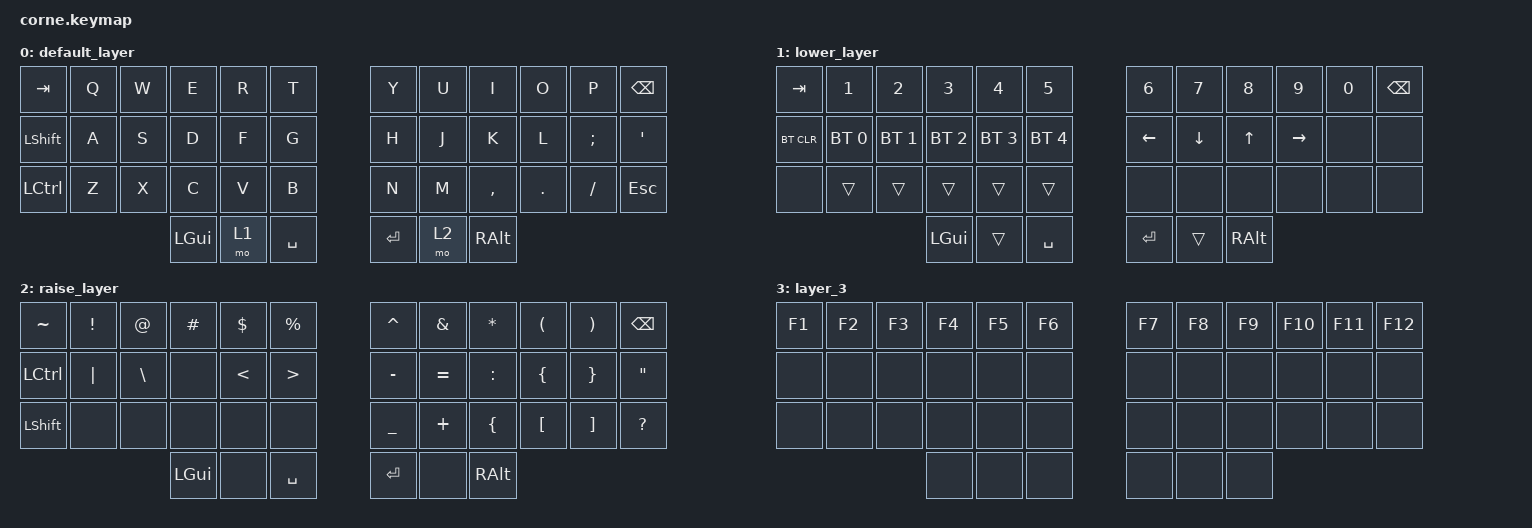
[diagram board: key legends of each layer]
/*
 * Copyright (c) 2020 The ZMK Contributors
 *
 * SPDX-License-Identifier: MIT
 */

#include <behaviors.dtsi>
#include <dt-bindings/zmk/bt.h>
#include <dt-bindings/zmk/keys.h>

/ {
    combos {
        compatible = "zmk,combos";

        grave {
            bindings = <&kp GRAVE>;
            key-positions = <40 12 0>;
        };

        layer3 {
            bindings = <&mo 3>;
            key-positions = <37 40>;
        };
    };

    keymap {
        compatible = "zmk,keymap";

        default_layer {
            // -----------------------------------------------------------------------------------------
            // |  TAB |  Q  |  W  |  E  |  R  |  T  |   |  Y  |  U   |  I  |  O  |  P  | BKSP |
            // | CTRL |  A  |  S  |  D  |  F  |  G  |   |  H  |  J   |  K  |  L  |  ;  |  '   |
            // | SHFT |  Z  |  X  |  C  |  V  |  B  |   |  N  |  M   |  ,  |  .  |  /  | ESC  |
            //                    | GUI | LWR | SPC |   | ENT | RSE  | ALT |

            bindings = <
&kp TAB     &kp Q  &kp W  &kp E     &kp R  &kp T        &kp Y    &kp U  &kp I      &kp O    &kp P     &kp BSPC
&kp LSHIFT  &kp A  &kp S  &kp D     &kp F  &kp G        &kp H    &kp J  &kp K      &kp L    &kp SEMI  &kp SQT
&kp LCTRL   &kp Z  &kp X  &kp C     &kp V  &kp B        &kp N    &kp M  &kp COMMA  &kp DOT  &kp FSLH  &kp ESC
                          &kp LGUI  &mo 1  &kp SPACE    &kp RET  &mo 2  &kp RALT
            >;
        };

        lower_layer {
            // -----------------------------------------------------------------------------------------
            // |  TAB |  1  |  2  |  3  |  4  |  5  |   |  6  |  7  |  8  |  9  |  0  | BKSP |
            // | BTCLR| BT1 | BT2 | BT3 | BT4 | BT5 |   | LFT | DWN |  UP | RGT |     |      |
            // | SHFT |     |     |     |     |     |   |     |     |     |     |     |      |
            //                    | GUI |     | SPC |   | ENT |     | ALT |

            bindings = <
&kp TAB     &kp N1        &kp N2        &kp N3        &kp N4        &kp N5          &kp N6    &kp N7    &kp N8    &kp N9     &kp N0  &kp BSPC
&bt BT_CLR  &bt BT_SEL 0  &bt BT_SEL 1  &bt BT_SEL 2  &bt BT_SEL 3  &bt BT_SEL 4    &kp LEFT  &kp DOWN  &kp UP    &kp RIGHT  &none   &none
&none       &trans        &trans        &trans        &trans        &trans          &none     &none     &none     &none      &none   &none
                                        &kp LGUI      &trans        &kp SPACE       &kp RET   &trans    &kp RALT
            >;
        };

        raise_layer {
            // -----------------------------------------------------------------------------------------
            // |  TAB |  !  |  @  |  #  |  $  |  %  |   |  ^  |  &  |  *  |  (  |  )  | BKSP |
            // | CTRL |     |     |     |     |     |   |  -  |  =  |  [  |  ]  |  \  |  `   |
            // | SHFT |     |     |     |     |     |   |  _  |  +  |  {  |  }  | "|" |  ~   |
            //                    | GUI |     | SPC |   | ENT |     | ALT |

            bindings = <
&kp TILDE  &kp EXCL  &kp AT         &kp HASH  &kp DLLR       &kp PRCNT           &kp CARET  &kp AMPS   &kp ASTRK  &kp LPAR          &kp RPAR           &kp BSPC
&kp LCTRL  &kp PIPE  &kp BACKSLASH  &none     &kp LESS_THAN  &kp GREATER_THAN    &kp MINUS  &kp EQUAL  &kp COLON  &kp LEFT_BRACE    &kp RIGHT_BRACE    &kp DOUBLE_QUOTES
&kp LSHFT  &none     &none          &none     &none          &none               &kp UNDER  &kp PLUS   &kp LBRC   &kp LEFT_BRACKET  &kp RIGHT_BRACKET  &kp QUESTION
                                    &kp LGUI  &none          &kp SPACE           &kp RET    &none      &kp RALT
            >;
        };

        layer_3 {
            bindings = <
&kp F1  &kp F2  &kp F3  &kp F4  &kp F5  &kp F6    &kp F7  &kp F8  &kp F9  &kp F10  &kp F11  &kp F12
&none   &none   &none   &none   &none   &none     &none   &none   &none   &none    &none    &none
&none   &none   &none   &none   &none   &none     &none   &none   &none   &none    &none    &none
                        &none   &none   &none     &none   &none   &none
            >;
        };
    };
};
